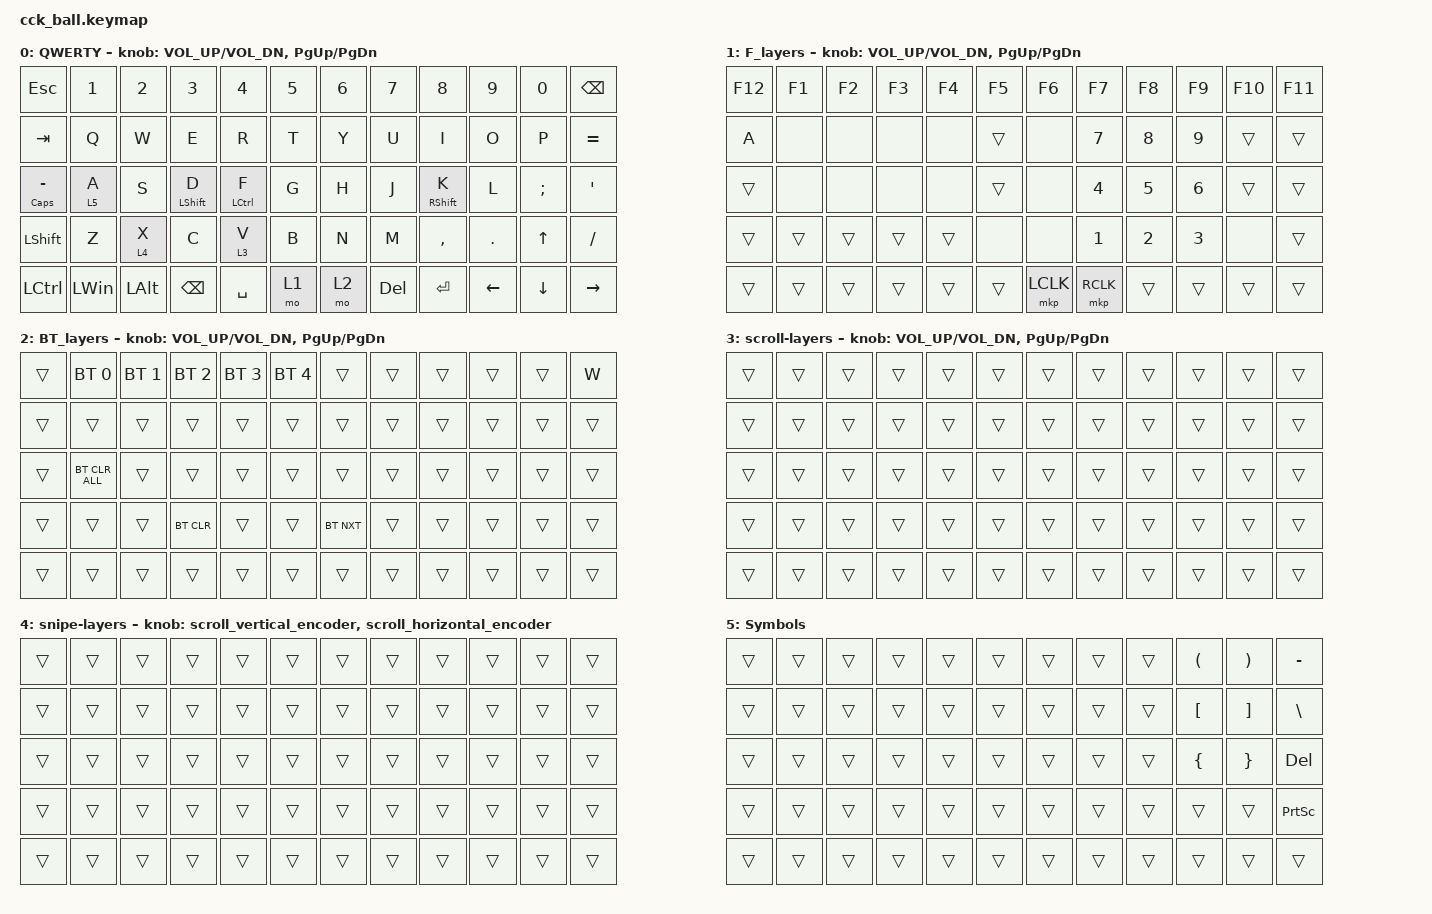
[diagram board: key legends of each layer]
#define ZMK_POINTING_DEFAULT_MOVE_VAL 1000 // 600
#define ZMK_POINTING_DEFAULT_SCRL_VAL 12   // 10

#include <input/processors.dtsi>
#include <zephyr/dt-bindings/input/input-event-codes.h>
#include <behaviors.dtsi>
#include <dt-bindings/zmk/bt.h>
#include <dt-bindings/zmk/keys.h>
#include <dt-bindings/zmk/pointing.h>

&mmv_input_listener { input-processors = <&zip_xy_scaler 2 1>; };

&msc_input_listener { input-processors = <&zip_scroll_scaler 2 1>; };

&msc {
    acceleration-exponent = <0>;      // 0
    time-to-max-speed-ms = <300>;       // 300
    delay-ms = <0>;                   // 0
};

&mmv {
    time-to-max-speed-ms = <500>;
    acceleration-exponent = <1>;
    trigger-period-ms = <16>;
};

&soft_off { hold-time-ms = <2000>; };

/ {
    // 上下滚动编码器行为

    scroll_vertical_encoder: scroll_vertical_encoder {
        compatible = "zmk,behavior-sensor-rotate";
        #sensor-binding-cells = <0>;
        bindings = <&msc SCRL_DOWN>, <&msc SCRL_UP>;

        tap-ms = <100>;
    };

    // 左右滚动编码器行为

    scroll_horizontal_encoder: scroll_horizontal_encoder {
        compatible = "zmk,behavior-sensor-rotate";
        #sensor-binding-cells = <0>;
        bindings = <&msc SCRL_LEFT>, <&msc SCRL_RIGHT>;

        tap-ms = <100>;
    };

    home_row: home_row {
        compatible = "zmk,behavior-hold-tap";
        label = "HOME_ROW";
        bindings = <&kp>, <&kp>;

        #binding-cells = <2>;
        tapping-term-ms = <250>;
        flavor = "tap-preferred";
    };

    hr_layer: hr_layer {
        compatible = "zmk,behavior-hold-tap";
        label = "HR_LAYER";
        bindings = <&mo>, <&kp>;

        #binding-cells = <2>;
        tapping-term-ms = <250>;
        flavor = "tap-preferred";
    };

    behaviors {
    };

    keymap {
        compatible = "zmk,keymap";

        QWERTY {
            bindings = <
&kp ESC           &kp NUMBER_1   &kp N2         &kp N3                  &kp N4                    &kp N5  &kp N6  &kp N7      &kp N8             &kp N9          &kp N0          &kp BACKSPACE
&kp TAB           &kp Q          &kp W          &kp E                   &kp R                     &kp T   &kp Y   &kp U       &kp I              &kp O           &kp P           &kp EQUAL
&mt CAPS MINUS    &hr_layer 5 A  &kp S          &home_row LEFT_SHIFT D  &home_row LEFT_CONTROL F  &kp G   &kp H   &kp J       &mt RIGHT_SHIFT K  &kp L           &kp SEMI        &kp SQT
&kp LEFT_SHIFT    &kp Z          &hr_layer 4 X  &kp C                   &hr_layer 3 V             &kp B   &kp N   &kp M       &kp COMMA          &kp DOT         &kp UP_ARROW    &kp FSLH
&kp LEFT_CONTROL  &kp LEFT_WIN   &kp LEFT_ALT   &kp BACKSPACE           &kp SPACE                 &mo 1   &mo 2   &kp DELETE  &kp ENTER          &kp LEFT_ARROW  &kp DOWN_ARROW  &kp RIGHT_ARROW
            >;

            sensor-bindings = <&inc_dec_kp C_VOL_UP C_VOL_DN &inc_dec_kp PG_UP PG_DN>;
        };

        F_layers {
            bindings = <
&kp F12  &kp F1  &kp F2  &kp F3  &kp F4  &kp F5  &kp F6     &kp F7        &kp F8        &kp F9        &kp F10  &kp F11
&kp A    &none   &none   &none   &none   &trans  &none      &kp NUMBER_7  &kp NUMBER_8  &kp NUMBER_9  &trans   &trans
&trans   &none   &none   &none   &none   &trans  &none      &kp NUMBER_4  &kp NUMBER_5  &kp NUMBER_6  &trans   &trans
&trans   &trans  &trans  &trans  &trans  &none   &none      &kp NUMBER_1  &kp NUMBER_2  &kp NUMBER_3  &none    &trans
&trans   &trans  &trans  &trans  &trans  &trans  &mkp LCLK  &mkp RCLK     &trans        &trans        &trans   &trans
            >;

            sensor-bindings = <&inc_dec_kp C_VOL_UP C_VOL_DN &inc_dec_kp PG_UP PG_DN>;
        };

        BT_layers {
            bindings = <
&trans  &bt BT_SEL 0    &bt BT_SEL 1  &bt BT_SEL 2  &bt BT_SEL 3  &bt BT_SEL 4  &trans      &trans  &trans  &trans  &trans  &kp W
&trans  &trans          &trans        &trans        &trans        &trans        &trans      &trans  &trans  &trans  &trans  &trans
&trans  &bt BT_CLR_ALL  &trans        &trans        &trans        &trans        &trans      &trans  &trans  &trans  &trans  &trans
&trans  &trans          &trans        &bt BT_CLR    &trans        &trans        &bt BT_NXT  &trans  &trans  &trans  &trans  &trans
&trans  &trans          &trans        &trans        &trans        &trans        &trans      &trans  &trans  &trans  &trans  &trans
            >;

            sensor-bindings = <&inc_dec_kp C_VOL_UP C_VOL_DN &inc_dec_kp PG_UP PG_DN>;
        };

        scroll-layers {
            bindings = <
&trans  &trans  &trans  &trans  &trans  &trans  &trans  &trans  &trans  &trans  &trans  &trans
&trans  &trans  &trans  &trans  &trans  &trans  &trans  &trans  &trans  &trans  &trans  &trans
&trans  &trans  &trans  &trans  &trans  &trans  &trans  &trans  &trans  &trans  &trans  &trans
&trans  &trans  &trans  &trans  &trans  &trans  &trans  &trans  &trans  &trans  &trans  &trans
&trans  &trans  &trans  &trans  &trans  &trans  &trans  &trans  &trans  &trans  &trans  &trans
            >;

            sensor-bindings = <&inc_dec_kp C_VOL_UP C_VOL_DN &inc_dec_kp PG_UP PG_DN>;
        };

        snipe-layers {
            bindings = <
&trans  &trans  &trans  &trans  &trans  &trans  &trans  &trans  &trans  &trans  &trans  &trans
&trans  &trans  &trans  &trans  &trans  &trans  &trans  &trans  &trans  &trans  &trans  &trans
&trans  &trans  &trans  &trans  &trans  &trans  &trans  &trans  &trans  &trans  &trans  &trans
&trans  &trans  &trans  &trans  &trans  &trans  &trans  &trans  &trans  &trans  &trans  &trans
&trans  &trans  &trans  &trans  &trans  &trans  &trans  &trans  &trans  &trans  &trans  &trans
            >;

            sensor-bindings =
                <&scroll_vertical_encoder>,
                // 编码器1：上下滚动,,,,,,
                <&scroll_horizontal_encoder>;

            // 编码器2：左右滚动
        };

        Symbols {
            bindings = <
&trans  &trans  &trans  &trans  &trans  &trans  &trans  &trans  &trans  &kp LEFT_PARENTHESIS  &kp RIGHT_PARENTHESIS  &kp MINUS
&trans  &trans  &trans  &trans  &trans  &trans  &trans  &trans  &trans  &kp LEFT_BRACKET      &kp RIGHT_BRACKET      &kp BACKSLASH
&trans  &trans  &trans  &trans  &trans  &trans  &trans  &trans  &trans  &kp LEFT_BRACE        &kp RIGHT_BRACE        &kp DEL
&trans  &trans  &trans  &trans  &trans  &trans  &trans  &trans  &trans  &trans                &trans                 &kp PRINTSCREEN
&trans  &trans  &trans  &trans  &trans  &trans  &trans  &trans  &trans  &trans                &trans                 &trans
            >;
        };
    };
};
